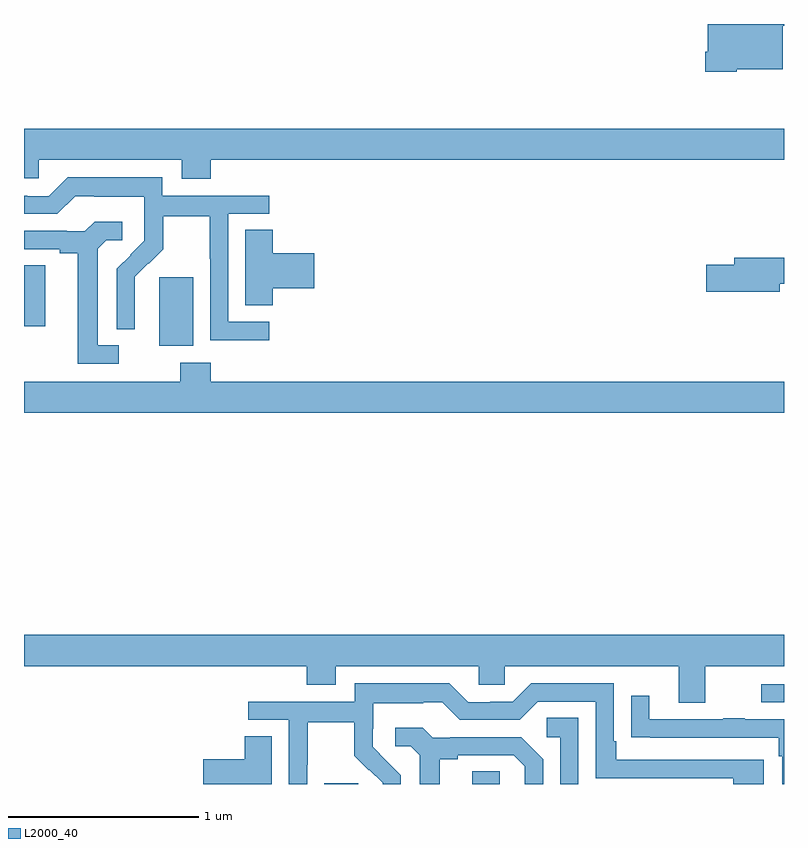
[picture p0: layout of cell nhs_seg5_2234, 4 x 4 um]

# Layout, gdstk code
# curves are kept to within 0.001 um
import gdstk
lib = gdstk.Library(unit=1e-6, precision=1e-09)
def R(c, l, rs):  # rectangles x0, y0, x1, y1
    for r in rs: c.add(gdstk.rectangle(r[:2], r[2:], *l))
def P(c, l, *ps):  # polygons
    for p in ps: c.add(gdstk.Polygon(p, *l))
L2000_40 = (2000, 40)

nhs_seg5_2234 = lib.new_cell('nhs_seg5_2234')
R(nhs_seg5_2234, L2000_40, [(242.579,862.799,242.758,862.803), (243.359,862.799,243.504,862.865), (244.881,863.229,245,863.325), (241.712,865.106,241.891,865.467), (241,865.209,241.111,865.529)])
P(nhs_seg5_2234, L2000_40, [(244.752,866.561),(244.993,866.561),(244.993,866.789),(245,866.789),(245,866.799),(244.598,866.799),(244.598,866.653),(244.586,866.653),(244.586,866.549),(244.752,866.549)],
  [(241.982,866.084),(245,866.084),(245,866.248),(241,866.248),(241,865.986),(241.077,865.986),(241.077,866.084),(241.829,866.084),(241.829,865.985),(241.982,865.985)],
  [(242.29,865.233),(242.076,865.233),(242.076,865.8),(242.29,865.8),(242.29,865.896),(241.728,865.896),(241.728,865.993),(241.231,865.993),(241.131,865.893),(241.016,865.893),(241.016,865.896),(241,865.896),(241,865.8),(241.176,865.8),(241.269,865.893),(241.369,865.893),(241.369,865.889),(241.632,865.889),(241.632,865.755),(241.634,865.755),(241.634,865.658),(241.488,865.51),(241.488,865.192),(241.584,865.192),(241.583,865.469),(241.653,865.539),(241.656,865.536),(241.733,865.613),(241.733,865.788),(241.978,865.788),(241.978,865.564),(241.98,865.564),(241.98,865.135),(242.29,865.135)],
  [(241.498,865.107),(241.387,865.107),(241.387,865.615),(241.434,865.662),(241.516,865.662),(241.516,865.759),(241.372,865.759),(241.32,865.707),(241.226,865.707),(241.226,865.71),(241,865.71),(241,865.614),(241.187,865.614),(241.187,865.592),(241.283,865.592),(241.283,865.011),(241.498,865.011)],
  [(242.309,865.409),(242.527,865.409),(242.527,865.592),(242.309,865.592),(242.309,865.715),(242.165,865.715),(242.165,865.318),(242.309,865.318)],
  [(244.978,865.432),(245,865.432),(245,865.568),(244.739,865.568),(244.739,865.532),(244.59,865.532),(244.59,865.39),(244.978,865.39)],
  [(245,864.916),(241.982,864.916),(241.982,865.015),(241.822,865.015),(241.822,864.916),(241,864.916),(241,864.752),(245,864.752)],
  [(244.585,863.42),(245,863.42),(245,863.584),(241,863.584),(241,863.42),(242.489,863.42),(242.489,863.321),(242.641,863.321),(242.641,863.42),(243.393,863.42),(243.393,863.322),(243.531,863.322),(243.531,863.42),(244.445,863.42),(244.445,863.226),(244.585,863.226)],
  [(242.49,862.9),(242.493,862.9),(242.493,863.124),(242.737,863.124),(242.737,862.949),(242.814,862.872),(242.817,862.875),(242.888,862.805),(242.888,862.799),(242.982,862.799),(242.982,862.846),(242.836,862.994),(242.836,863.091),(242.838,863.091),(242.838,863.225),(243.101,863.225),(243.101,863.229),(243.201,863.229),(243.294,863.136),(243.609,863.136),(243.705,863.232),(244.008,863.232),(244.008,862.83),(244.733,862.83),(244.733,862.799),(244.894,862.799),(244.894,862.926),(244.117,862.926),(244.117,863.023),(244.104,863.023),(244.104,863.328),(243.669,863.328),(243.573,863.232),(243.455,863.232),(243.455,863.229),(243.339,863.229),(243.239,863.329),(242.742,863.329),(242.742,863.232),(242.181,863.232),(242.181,863.136),(242.394,863.136),(242.394,862.799),(242.49,862.799)],
  [(245,863.139),(244.793,863.139),(244.793,863.144),(244.681,863.144),(244.681,863.139),(244.291,863.139),(244.291,863.263),(244.195,863.263),(244.195,863.044),(244.297,863.044),(244.297,863.043),(244.972,863.043),(244.972,862.946),(244.992,862.946),(244.992,862.799),(245,862.799)],
  [(243.918,863.147),(243.75,863.147),(243.75,863.046),(243.822,863.046),(243.822,862.799),(243.918,862.799)],
  [(243.187,862.928),(243.283,862.928),(243.283,862.95),(243.578,862.95),(243.635,862.893),(243.635,862.799),(243.732,862.799),(243.732,862.93),(243.616,863.046),(243.244,863.046),(243.244,863.043),(243.15,863.043),(243.098,863.095),(242.955,863.095),(242.955,862.998),(243.036,862.998),(243.083,862.951),(243.083,862.799),(243.187,862.799)],
  [(242.305,863.051),(242.162,863.051),(242.162,862.928),(241.944,862.928),(241.944,862.799),(242.305,862.799)])

lib.write_gds('nhs_seg5_2234.gds')
